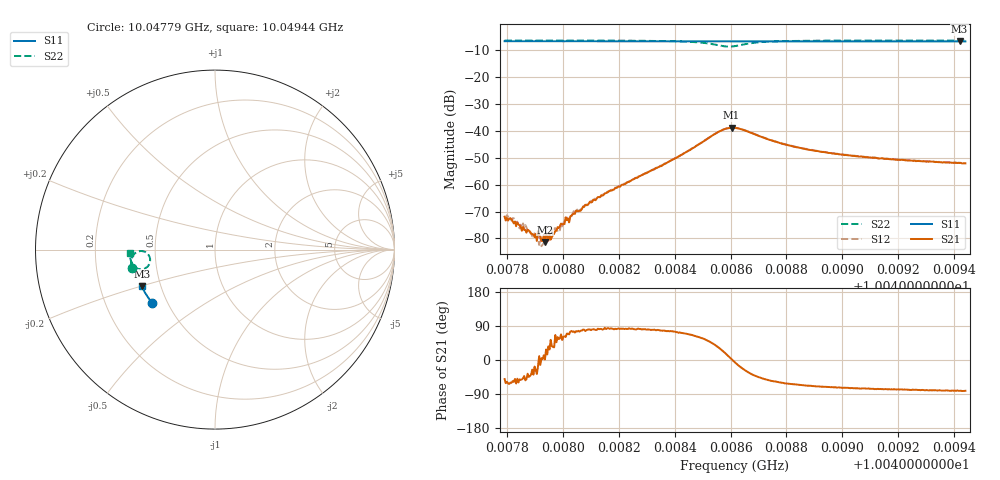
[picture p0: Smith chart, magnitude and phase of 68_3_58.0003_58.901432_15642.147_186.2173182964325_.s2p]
#  HZ  S  RI  R  50.00
! Rohde & Schwarz Vector Network Analyzer
! Rohde-Schwarz,ZNB20-2Port,1311601062101988,3.16
! Created: UTC 3/21/2024, 12:53:17 AM
! freq[Hz]  re:S11  im:S11  re:S21  im:S21  re:S12  im:S12  re:S22  im:S22
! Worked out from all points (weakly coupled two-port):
!   401 points, 10.04779 GHz to 10.04944 GHz, reference 50 ohm
!   highest |S21| = -38.86 dB at 10.0486 GHz (marker M1); lowest = -81.4 dB at 10.04793 GHz (marker M2)
!   lowest |S11| = -6.8 dB at 10.04942 GHz (marker M3), VSWR 2.68, Z = 19.5 - j10.1 ohm
!   |S11| at or under -10 dB: nowhere
!   |S22| runs from -8.8 to -6.5 dB; largest |S21 - S12| = 0.00082
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1.004779e10  -0.3514 -0.2965  0.000161 -0.000195  0.000141 -0.000189  -0.4637 -0.1046
1.0047819e10  -0.3526 -0.2949  0.000118 -0.000173  0.000153 -0.000183  -0.464 -0.1025
1.0047839e10  -0.3535 -0.2939  9.32e-05 -0.000157  0.000106 -0.000137  -0.4643 -0.1008
1.004786e10  -0.3544 -0.2927  0.000106 -9.66e-05  7.83e-05 -0.000132  -0.4646 -0.0991
1.0047881e10  -0.3553 -0.2916  9.89e-05 -9.02e-05  0.000119 -4.74e-05  -0.4648 -0.0975
1.0047914e10  -0.3564 -0.2899  0.000115 2.06e-05  7.31e-05 -1.89e-05  -0.4651 -0.0948
1.0047934e10  -0.3574 -0.2887  8.55e-05 1.81e-06  0.00011 2.97e-05  -0.4654 -0.093
1.0047955e10  -0.3581 -0.2876  5.68e-05 7.61e-05  0.000102 7.98e-05  -0.4655 -0.0913
1.0047963e10  -0.3585 -0.2871  9.53e-05 6.52e-05  9.92e-05 7e-05  -0.4656 -0.0906
1.0047988e10  -0.3595 -0.2859  9.04e-05 0.000141  7.33e-05 0.000121  -0.4659 -0.0884
1.0048e10  -0.3599 -0.2852  8.96e-05 0.000161  9.1e-05 0.00017  -0.4661 -0.0873
1.0048067e10  -0.3626 -0.2816  7.56e-05 0.000342  5.97e-05 0.000394  -0.4663 -0.0811
1.0048157e10  -0.3661 -0.277  8.25e-05 0.0007  3.86e-05 0.000732  -0.4667 -0.0721
1.0048343e10  -0.3731 -0.2665  0.000414 0.0021  0.00028 0.00213  -0.4629 -0.0471
1.0048554e10  -0.3802 -0.2543  0.00774 0.00531  0.00737 0.0058  -0.3892 -0.0133
1.0048603e10  -0.3814 -0.2521  0.0114 0.000387  0.0113 0.00114  -0.3613 -0.0627
1.0048616e10  -0.3818 -0.2515  0.0113 -0.00127  0.0113 -0.000522  -0.3649 -0.078
1.0048719e10  -0.3859 -0.2462  0.00477 -0.00566  0.00519 -0.00539  -0.4347 -0.105
1.0048892e10  -0.3921 -0.2363  0.00158 -0.00407  0.00183 -0.00401  -0.4643 -0.0731
1.0049169e10  -0.4008 -0.2201  0.000671 -0.00289  0.000822 -0.00288  -0.4722 -0.0426
1.0049421e10  -0.4081 -0.2051  0.000384 -0.00248  0.000532 -0.0025  -0.4743 -0.0216
1.0049441e10  -0.4089 -0.2039  0.000375 -0.00245  0.000501 -0.00244  -0.4744 -0.0198
